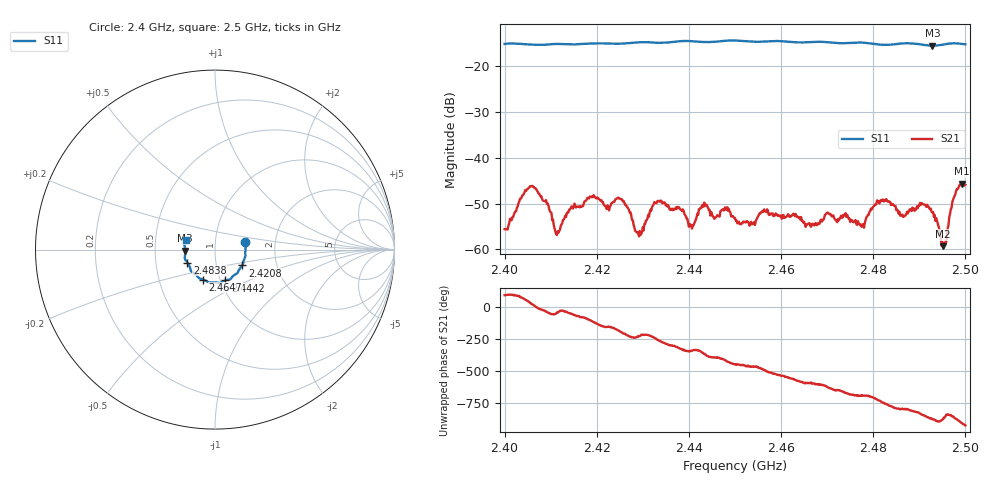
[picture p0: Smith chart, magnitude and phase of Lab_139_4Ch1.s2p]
# Hz S RI R 50
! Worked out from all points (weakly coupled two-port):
!   601 points, 2.4 GHz to 2.5 GHz, reference 50 ohm
!   highest |S21| = -45.65 dB at 2.4992 GHz (marker M1); lowest = -59.3 dB at 2.4952 GHz (marker M2)
!   lowest |S11| = -15.6 dB at 2.4928 GHz (marker M3), VSWR 1.40, Z = 35.8 - j0.402 ohm
!   |S11| at or under -10 dB: start of sweep to end of sweep
!   S12 and S22 are empty: the file has one direction only
!   S11 on the Smith chart (normalised r, x): 2.4 GHz: 1.40, +0.12; 2.4208 GHz: 1.33, -0.24; 2.4442 GHz: 1.05, -0.37; 2.4647 GHz: 0.83, -0.29; 2.4838 GHz: 0.73, -0.11; 2.5 GHz: 0.72, +0.08
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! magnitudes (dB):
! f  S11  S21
! 2.4 GHz  -15.2  -55.6
! 2.4057 GHz  -15.4  -46.2
! 2.4092 GHz  -15.4  -50.0
! 2.4113 GHz  -15.3  -56.9
! 2.4167 GHz  -15.3  -50.7
! 2.4208 GHz  -15.1  -49.3
! 2.4255 GHz  -15.2  -49.2
! 2.4293 GHz  -14.9  -56.0
! 2.4333 GHz  -15.0  -49.5
! 2.4405 GHz  -14.6  -54.8
! 2.4442 GHz  -14.8  -51.0
! 2.45 GHz  -14.5  -53.1
! 2.4647 GHz  -14.9  -53.8
! 2.4667 GHz  -14.8  -54.5
! 2.4702 GHz  -14.9  -52.0
! 2.4777 GHz  -15.0  -54.5
! 2.4833 GHz  -15.4  -49.5
! 2.4838 GHz  -15.4  -50.3
! 2.4928 GHz  -15.6  -52.0
! 2.4952 GHz  -15.4  -59.3
! 2.4992 GHz  -15.2  -45.6
! 2.5 GHz  -15.3  -45.9
